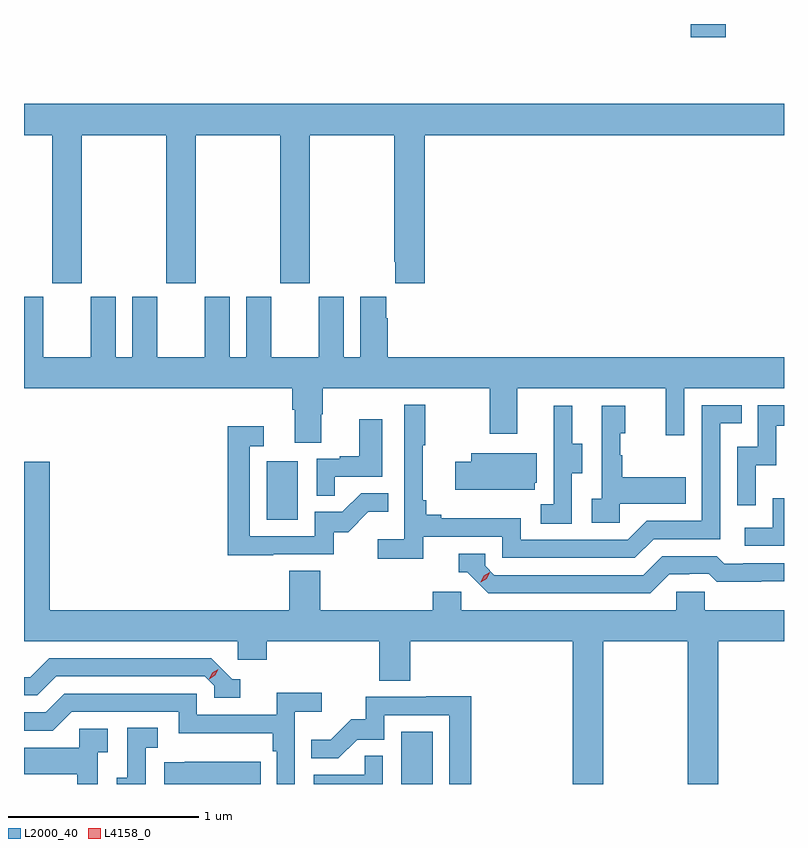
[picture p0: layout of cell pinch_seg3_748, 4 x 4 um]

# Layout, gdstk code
import gdstk
lib = gdstk.Library(unit=1e-6, precision=1e-09)
def R(c, l, rs):  # rectangles x0, y0, x1, y1
    for r in rs: c.add(gdstk.rectangle(r[:2], r[2:], *l))
def P(c, l, *ps):  # polygons
    for p in ps: c.add(gdstk.Polygon(p, *l))
L2000_40 = (2000, 40)
L4158_0 = (4158, 0)

pinch_seg3_748 = lib.new_cell('pinch_seg3_748')
R(pinch_seg3_748, L2000_40, [(845.126,737.461,845.29,737.737), (844.418,738.852,844.582,739.159), (846.65,741.39,846.833,741.461)])
P(pinch_seg3_748, L2000_40, [(843.444,740.876),(843.889,740.876),(843.889,740.097),(844.044,740.097),(844.044,740.876),(844.489,740.876),(844.489,740.097),(844.644,740.097),(844.644,740.876),(845.089,740.876),(845.089,740.209),(845.093,740.209),(845.093,740.097),(845.249,740.097),(845.249,740.876),(847.14,740.876),(847.14,741.04),(843.14,741.04),(843.14,740.876),(843.289,740.876),(843.289,740.097),(843.444,740.097)],
  [(844.705,739.407),(844.713,739.407),(844.713,739.544),(845.59,739.544),(845.59,739.305),(845.737,739.305),(845.737,739.544),(846.518,739.544),(846.518,739.296),(846.615,739.296),(846.615,739.544),(847.14,739.544),(847.14,739.708),(845.054,739.708),(845.054,739.913),(845.047,739.913),(845.047,740.026),(844.91,740.026),(844.91,739.708),(844.822,739.708),(844.822,740.026),(844.691,740.026),(844.691,739.708),(844.441,739.708),(844.441,740.026),(844.31,740.026),(844.31,739.708),(844.222,739.708),(844.222,740.026),(844.091,740.026),(844.091,739.708),(843.841,739.708),(843.841,740.026),(843.71,740.026),(843.71,739.708),(843.622,739.708),(843.622,740.026),(843.491,740.026),(843.491,739.708),(843.241,739.708),(843.241,740.026),(843.14,740.026),(843.14,739.544),(844.553,739.544),(844.553,739.432),(844.565,739.432),(844.565,739.258),(844.705,739.258)],
  [(845.24,738.762),(845.658,738.762),(845.658,738.651),(846.355,738.651),(846.454,738.75),(846.804,738.75),(846.804,739.359),(846.917,739.359),(846.917,739.455),(846.708,739.455),(846.708,738.846),(846.417,738.846),(846.318,738.747),(845.754,738.747),(845.754,738.859),(845.335,738.859),(845.335,738.878),(845.258,738.878),(845.258,738.955),(845.239,738.955),(845.239,739.243),(845.251,739.243),(845.251,739.456),(845.142,739.456),(845.142,738.748),(845.001,738.748),(845.001,738.646),(845.24,738.646)],
  [(846.99,739.139),(847.1,739.139),(847.1,739.347),(847.14,739.347),(847.14,739.455),(847.002,739.455),(847.002,739.236),(846.894,739.236),(846.894,738.927),(846.99,738.927)],
  [(846.276,738.935),(846.623,738.935),(846.623,739.075),(846.289,739.075),(846.289,739.19),(846.279,739.19),(846.279,739.308),(846.304,739.308),(846.304,739.453),(846.18,739.453),(846.18,738.962),(846.129,738.962),(846.129,738.837),(846.276,738.837)],
  [(846.024,739.096),(846.079,739.096),(846.079,739.251),(846.025,739.251),(846.025,739.453),(845.927,739.453),(845.927,739.239),(845.928,739.239),(845.928,738.933),(845.859,738.933),(845.859,738.832),(846.024,738.832)],
  [(844.775,739.077),(845.026,739.077),(845.026,739.381),(844.904,739.381),(844.904,739.186),(844.801,739.186),(844.801,739.173),(844.68,739.173),(844.68,738.979),(844.775,738.979)],
  [(844.451,738.669),(844.77,738.669),(844.77,738.786),(844.846,738.786),(844.953,738.893),(845.057,738.893),(845.057,738.992),(844.914,738.992),(844.816,738.894),(844.671,738.894),(844.671,738.765),(844.329,738.765),(844.329,739.239),(844.402,739.239),(844.402,739.345),(844.213,739.345),(844.213,738.664),(844.451,738.664)],
  [(845.723,739.011),(845.827,739.011),(845.827,739.047),(845.839,739.047),(845.839,739.201),(845.495,739.201),(845.495,739.158),(845.409,739.158),(845.409,739.01),(845.723,739.01)],
  [(846.189,738.212),(846.634,738.212),(846.634,737.461),(846.794,737.461),(846.794,738.212),(847.14,738.212),(847.14,738.376),(846.723,738.376),(846.723,738.474),(846.573,738.474),(846.573,738.376),(845.442,738.376),(845.442,738.474),(845.291,738.474),(845.291,738.376),(844.7,738.376),(844.7,738.584),(844.535,738.584),(844.535,738.376),(843.275,738.376),(843.275,739.156),(843.14,739.156),(843.14,738.212),(844.266,738.212),(844.266,738.114),(844.418,738.114),(844.418,738.212),(845.009,738.212),(845.009,738.004),(845.174,738.004),(845.174,738.212),(846.029,738.212),(846.029,737.461),(846.189,737.461)],
  [(847.14,738.964),(847.08,738.964),(847.08,738.81),(846.933,738.81),(846.933,738.714),(847.14,738.714)],
  [(846.535,738.564),(846.642,738.564),(846.642,738.567),(846.745,738.567),(846.787,738.525),(847.02,738.525),(847.02,738.527),(847.14,738.527),(847.14,738.624),(846.925,738.624),(846.925,738.621),(846.826,738.621),(846.787,738.66),(846.498,738.66),(846.399,738.561),(845.616,738.561),(845.568,738.609),(845.568,738.672),(845.429,738.672),(845.429,738.576),(845.472,738.576),(845.583,738.465),(846.436,738.465)],
  [(844.279,738.012),(844.236,738.012),(844.125,738.123),(843.272,738.123),(843.173,738.024),(843.14,738.024),(843.14,737.928),(843.21,737.928),(843.309,738.027),(844.092,738.027),(844.14,737.979),(844.14,737.916),(844.279,737.916)],
  [(844.566,737.84),(844.708,737.84),(844.708,737.942),(844.469,737.942),(844.469,737.826),(844.05,737.826),(844.05,737.937),(843.353,737.937),(843.254,737.838),(843.14,737.838),(843.14,737.742),(843.291,737.742),(843.39,737.841),(843.954,737.841),(843.954,737.729),(844.45,737.729),(844.45,737.633),(844.47,737.633),(844.47,737.461),(844.566,737.461)],
  [(845.495,737.924),(845.257,737.924),(845.257,737.919),(844.939,737.919),(844.939,737.802),(844.862,737.802),(844.755,737.695),(844.651,737.695),(844.651,737.596),(844.795,737.596),(844.893,737.694),(845.037,737.694),(845.037,737.823),(845.379,737.823),(845.379,737.461),(845.495,737.461)],
  [(843.78,737.653),(843.844,737.653),(843.844,737.756),(843.684,737.756),(843.684,737.493),(843.629,737.493),(843.629,737.461),(843.78,737.461)],
  [(843.528,737.627),(843.58,737.627),(843.58,737.751),(843.432,737.751),(843.432,737.653),(843.14,737.653),(843.14,737.513),(843.42,737.513),(843.42,737.461),(843.528,737.461)],
  [(845.028,737.609),(844.933,737.609),(844.933,737.511),(844.664,737.511),(844.664,737.461),(845.028,737.461)],
  [(844.385,737.578),(843.985,737.578),(843.985,737.575),(843.877,737.575),(843.877,737.461),(844.385,737.461)])
P(pinch_seg3_748, L4158_0, [(844.115,738.013),(844.115,738.013),(844.131,738.046),(844.162,738.066),(844.162,738.066),(844.162,738.066),(844.146,738.033),(844.116,738.013)],
  [(845.544,738.523),(845.544,738.523),(845.561,738.556),(845.592,738.575),(845.592,738.575),(845.592,738.575),(845.576,738.542),(845.545,738.523)])

lib.write_gds('pinch_seg3_748.gds')
